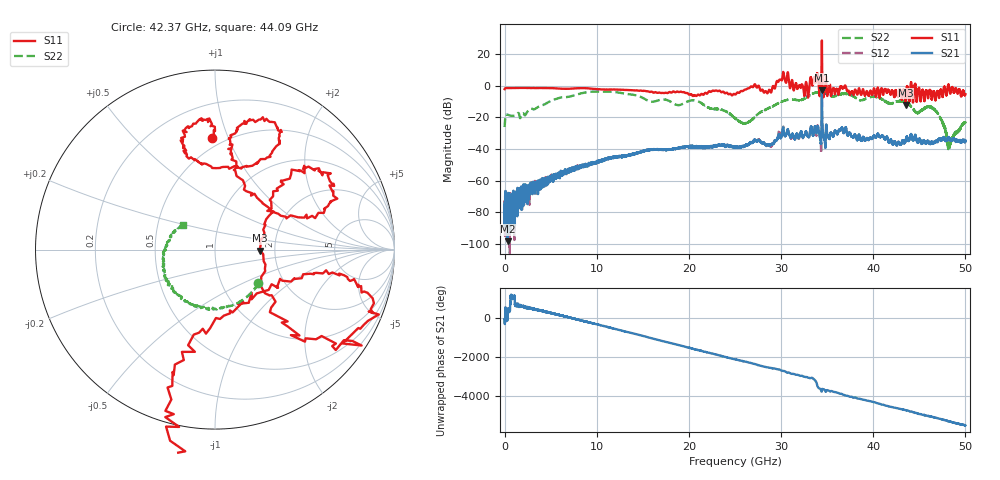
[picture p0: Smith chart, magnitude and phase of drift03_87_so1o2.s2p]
!Created with skrf (http://scikit-rf.org).
# Hz S RI R 50.0
!freq ReS11 ImS11 ReS21 ImS21 ReS12 ImS12 ReS22 ImS22
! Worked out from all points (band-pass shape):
!   10000 points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, 5.3 MHz to 50 GHz, reference 50 ohm
!   highest |S21| = -2.72 dB at 34.43 GHz (marker M1); lowest = -98.2 dB at 330.3 MHz (marker M2)
!   |S21| within 3 dB of the highest: 34.42753 GHz to 34.43451 GHz (6.977 MHz wide, 0.0203 % of centre)
!   lowest |S11| = -12.1 dB at 43.52 GHz (marker M3), VSWR 1.66, Z = 83.2 - j1.03 ohm
!   |S11| at or under -10 dB: 43.48338 GHz to 43.55313 GHz (69.74 MHz wide, 0.16 % of centre); 43.90996 GHz to 43.9101 GHz (133.7 kHz wide, 0.000305 % of centre); 44.30496 GHz to 44.31947 GHz (14.51 MHz wide, 0.0327 % of centre) (the widest 3 of 5)
!   |S22| runs from -40.3 to -3.6 dB; largest |S21 - S12| = 0.23
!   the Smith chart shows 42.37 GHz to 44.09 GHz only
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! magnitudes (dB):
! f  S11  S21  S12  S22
! 5.3 MHz  -2.1  -87.2  -78.0  -26.1
! 330.3 MHz  -1.4  -98.2  -70.6  -18.2
! 3.03 GHz  -1.4  -61.6  -63.9  -14.6
! 8.34 GHz  -1.5  -50.7  -50.5  -4.7
! 16.67 GHz  -4.4  -40.1  -40.2  -9.2
! 20.75 GHz  -6.3  -38.2  -38.2  -9.4
! 25.01 GHz  -5.5  -39.0  -38.9  -20.5
! 26.22 GHz  -2.2  -37.6  -37.4  -23.6
! 28.72 GHz  -2.5  -37.9  -37.5  -14.0
! 30.14 GHz  4.4  -29.6  -29.7  -9.9
! 32.74 GHz  2.0  -29.5  -29.3  -7.4
! 33.34 GHz  2.6  -27.5  -27.7  -5.2
! 33.82 GHz  4.0  -29.1  -29.4  -4.2
! 34.43 GHz  28.7  -2.7  -4.9  -3.9
! 36.49 GHz  -0.3  -27.9  -27.8  -5.2
! 41.67 GHz  -2.8  -35.5  -35.7  -10.9
! 43.52 GHz  -12.1  -34.3  -34.5  -10.1
! 44.73 GHz  -9.5  -34.5  -34.3  -17.0
! 46.68 GHz  -6.1  -35.4  -35.6  -15.0
! 47.57 GHz  -5.8  -33.1  -33.4  -24.3
! 48.24 GHz  -1.1  -33.4  -33.3  -37.8
! 50 GHz  -5.2  -34.7  -34.9  -23.3
